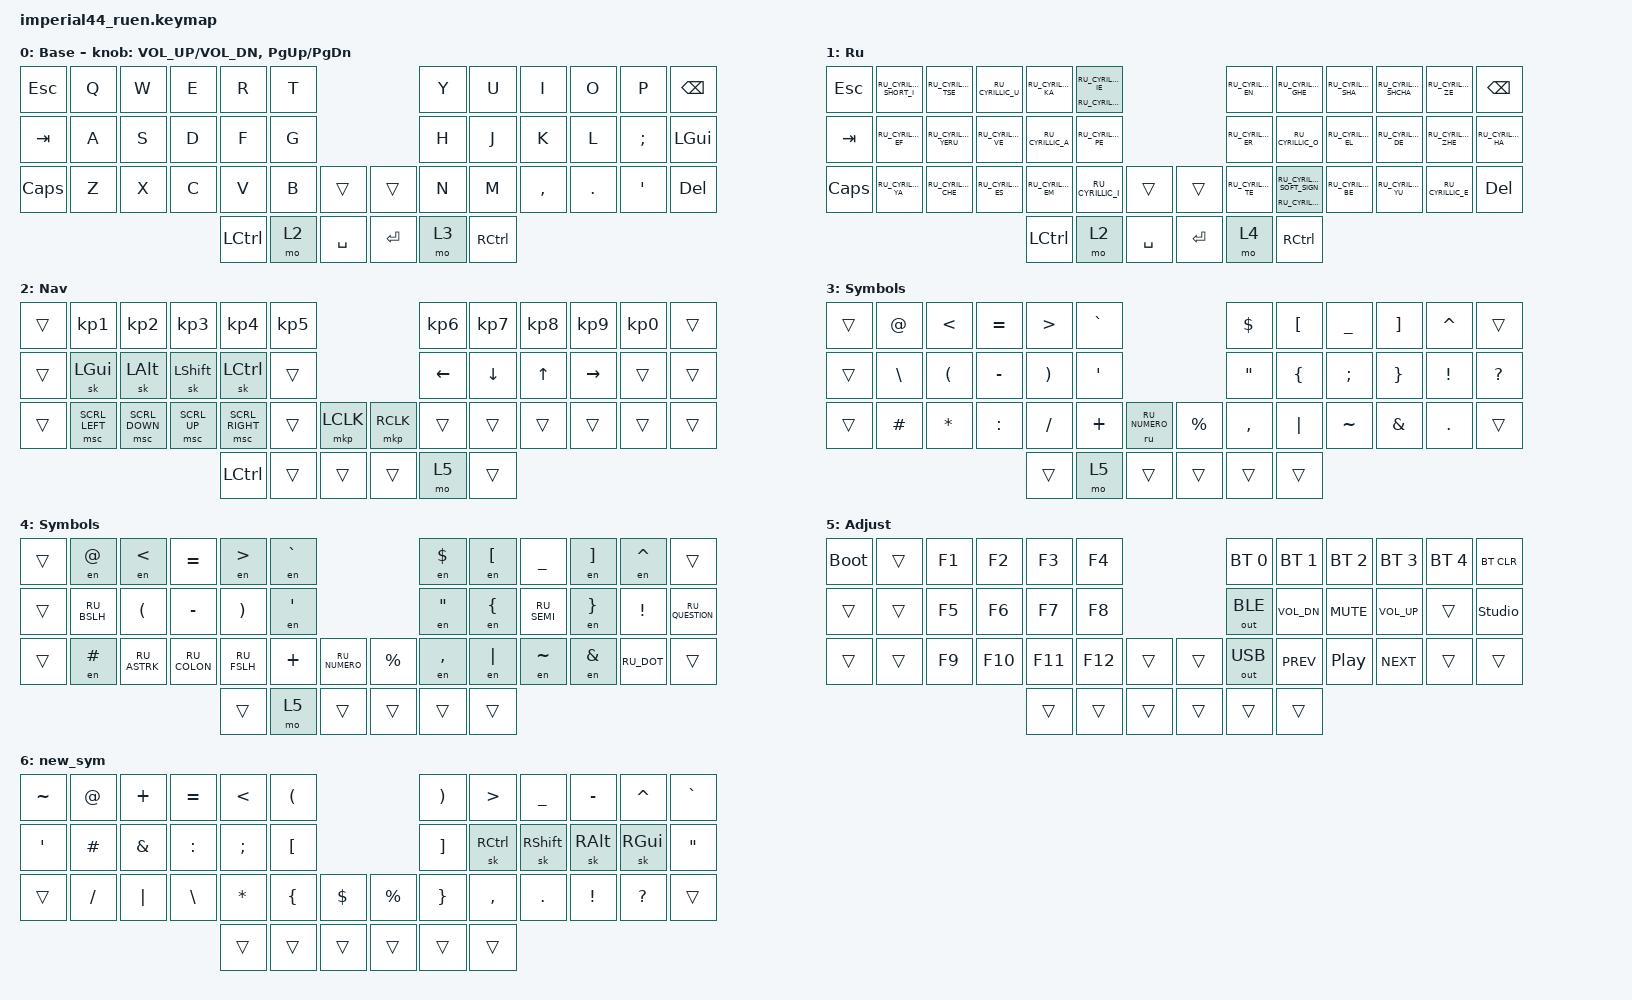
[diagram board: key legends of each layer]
#include "keys_ru.h"
#include <behaviors.dtsi>
#include <dt-bindings/zmk/bt.h>
#include <dt-bindings/zmk/keys.h>
#include <dt-bindings/zmk/outputs.h>
#include <dt-bindings/zmk/pointing.h>

/ {
    combos {
        compatible = "zmk,combos";

        cmben {
            bindings = <&layer_en>;
            key-positions = <3 4>;
            layers = <1>;
        };

        cmbru {
            bindings = <&layer_ru>;
            key-positions = <3 4>;
            layers = <0>;
        };
    };

    macros {
        to_ru: to_ru {
            compatible = "zmk,behavior-macro";
            #binding-cells = <0>;
            bindings = <&kp LC(LS(N2))>;
            label = "TO_RU";
            wait-ms = <0>;
            tap-ms = <30>;
        };

        to_en: to_en {
            compatible = "zmk,behavior-macro";
            #binding-cells = <0>;
            bindings = <&kp LC(LS(N1))>;
            label = "TO_EN";
            wait-ms = <0>;
            tap-ms = <30>;
        };

        layer_en: layer_en {
            compatible = "zmk,behavior-macro";
            #binding-cells = <0>;
            bindings = <&to 0 &to_en>;
            label = "LAYER_EN";
            wait-ms = <0>;
            tap-ms = <30>;
        };

        layer_ru: layer_ru {
            compatible = "zmk,behavior-macro";
            #binding-cells = <0>;
            bindings = <&to 1 &to_ru>;
            label = "LAYER_RU";
            tap-ms = <30>;
            wait-ms = <0>;
        };

        en: en {
            compatible = "zmk,behavior-macro-one-param";
            #binding-cells = <1>;
            bindings =
                <&to_en>,
                <&macro_press>,
                <&macro_param_1to1 &kp MACRO_PLACEHOLDER>,
                <&macro_pause_for_release>,
                <&macro_release>,
                <&macro_param_1to1 &kp MACRO_PLACEHOLDER>,
                <&macro_tap>,
                <&to_ru>;

            label = "EN";
            wait-ms = <0>;
            tap-ms = <30>;
        };

        ru: ru {
            compatible = "zmk,behavior-macro-one-param";
            #binding-cells = <1>;
            bindings =
                <&to_ru>,
                <&macro_press>,
                <&macro_param_1to1 &kp MACRO_PLACEHOLDER>,
                <&macro_pause_for_release>,
                <&macro_release>,
                <&macro_param_1to1 &kp MACRO_PLACEHOLDER>,
                <&macro_tap>,
                <&to_en>;

            label = "RU";
        };
    };

    behaviors {
        custom_mt: custom_mt {
            compatible = "zmk,behavior-hold-tap";
            label = "CUSTOM_MT";
            bindings = <&kp>, <&kp>;

            #binding-cells = <2>;
            tapping-term-ms = <250>;
            flavor = "balanced";
        };

        hrm: hrm {
            compatible = "zmk,behavior-hold-tap";
            label = "HRM";
            bindings = <&kp>, <&kp>;

            #binding-cells = <2>;
            tapping-term-ms = <200>;
            flavor = "balanced";
        };
    };

    keymap {
        compatible = "zmk,keymap";

        en {
            bindings = <
&kp ESC   &kp Q  &kp W  &kp E  &kp R      &kp T                          &kp Y  &kp U      &kp I      &kp O    &kp P     &kp BACKSPACE
&kp TAB   &kp A  &kp S  &kp D  &kp F      &kp G                          &kp H  &kp J      &kp K      &kp L    &kp SEMI  &kp LGUI
&kp CAPS  &kp Z  &kp X  &kp C  &kp V      &kp B  &trans       &trans     &kp N  &kp M      &kp COMMA  &kp DOT  &kp SQT   &kp DELETE
                               &kp LCTRL  &mo 2  &kp SPACE    &kp ENTER  &mo 3  &kp RCTRL
            >;

            display-name = "Base";
            sensor-bindings =
                <&inc_dec_kp C_VOL_UP C_VOL_DN>,
                <&inc_dec_kp PG_UP PG_DN>;
        };

        ru {
            display-name = "Ru";
            bindings = <
&kp ESC   &kp RU_CYRILLIC_SHORT_I  &kp RU_CYRILLIC_TSE   &kp RU_CYRILLIC_U   &kp RU_CYRILLIC_KA  &custom_mt RU_CYRILLIC_IO RU_CYRILLIC_IE                          &kp RU_CYRILLIC_EN  &kp RU_CYRILLIC_GHE                                     &kp RU_CYRILLIC_SHA  &kp RU_CYRILLIC_SHCHA  &kp RU_CYRILLIC_ZE   &kp BACKSPACE
&kp TAB   &kp RU_CYRILLIC_EF       &kp RU_CYRILLIC_YERU  &kp RU_CYRILLIC_VE  &kp RU_CYRILLIC_A   &kp RU_CYRILLIC_PE                                                &kp RU_CYRILLIC_ER  &kp RU_CYRILLIC_O                                       &kp RU_CYRILLIC_EL   &kp RU_CYRILLIC_DE     &kp RU_CYRILLIC_ZHE  &kp RU_CYRILLIC_HA
&kp CAPS  &kp RU_CYRILLIC_YA       &kp RU_CYRILLIC_CHE   &kp RU_CYRILLIC_ES  &kp RU_CYRILLIC_EM  &kp RU_CYRILLIC_I                         &trans       &trans     &kp RU_CYRILLIC_TE  &custom_mt RU_CYRILLIC_HARD_SIGN RU_CYRILLIC_SOFT_SIGN  &kp RU_CYRILLIC_BE   &kp RU_CYRILLIC_YU     &kp RU_CYRILLIC_E    &kp DELETE
                                                                             &kp LCTRL           &mo 2                                     &kp SPACE    &kp ENTER  &mo 4               &kp RCTRL
            >;
        };

        nav {
            bindings = <
&trans  &kp KP_NUMBER_1  &kp KP_NUMBER_2  &kp KP_NUMBER_3  &kp KP_NUMBER_4   &kp KP_NUMBER_5                          &kp KP_NUMBER_6  &kp KP_NUMBER_7  &kp KP_NUMBER_8  &kp KP_NUMBER_9  &kp KP_NUMBER_0  &trans
&trans  &sk LEFT_GUI     &sk LEFT_ALT     &sk LEFT_SHIFT   &sk LEFT_CONTROL  &trans                                   &kp LEFT         &kp DOWN         &kp UP           &kp RIGHT        &trans           &trans
&trans  &msc SCRL_LEFT   &msc SCRL_DOWN   &msc SCRL_UP     &msc SCRL_RIGHT   &trans           &mkp LCLK    &mkp RCLK  &trans           &trans           &trans           &trans           &trans           &trans
                                                           &kp LEFT_CONTROL  &trans           &trans       &trans     &mo 5            &trans
            >;

            display-name = "Nav";
        };

        sym_en {
            bindings = <
&trans  &kp AT    &kp LT    &kp EQUAL  &kp GT    &kp GRAVE                              &kp DOLLAR  &kp LBKT  &kp UNDER  &kp RBKT  &kp CARET  &trans
&trans  &kp BSLH  &kp LPAR  &kp MINUS  &kp RPAR  &kp SQT                                &kp DQT     &kp LBRC  &kp SEMI   &kp RBRC  &kp EXCL   &kp QUESTION
&trans  &kp HASH  &kp STAR  &kp COLON  &kp FSLH  &kp PLUS   &ru RU_NUMERO    &kp PRCNT  &kp COMMA   &kp PIPE  &kp TILDE  &kp AMPS  &kp DOT    &trans
                                       &trans    &mo 5      &trans           &trans     &trans      &trans
            >;

            display-name = "Symbols";
        };

        sym_ru {
            display-name = "Symbols";
            bindings = <
&trans  &en AT_SIGN  &en LT        &kp EQUAL     &en GT       &en GRAVE                                &en DOLLAR         &en LBKT  &kp UNDER    &en RBKT  &en CARET   &trans
&trans  &kp RU_BSLH  &kp LPAR      &kp MINUS     &kp RPAR     &en APOS                                 &en DOUBLE_QUOTES  &en LBRC  &kp RU_SEMI  &en RBRC  &kp EXCL    &kp RU_QUESTION
&trans  &en HASH     &kp RU_ASTRK  &kp RU_COLON  &kp RU_FSLH  &kp PLUS   &kp RU_NUMERO    &kp PERCENT  &en COMMA          &en PIPE  &en TILDE    &en AMPS  &kp RU_DOT  &trans
                                                 &trans       &mo 5      &trans           &trans       &trans             &trans
            >;
        };

        adj {
            bindings = <
&bootloader  &trans  &kp F1  &kp F2   &kp F3   &kp F4                     &bt BT_SEL 0  &bt BT_SEL 1  &bt BT_SEL 2      &bt BT_SEL 3  &bt BT_SEL 4  &bt BT_CLR
&trans       &trans  &kp F5  &kp F6   &kp F7   &kp F8                     &out OUT_BLE  &kp C_VOL_DN  &kp C_MUTE        &kp C_VOL_UP  &trans        &studio_unlock
&trans       &trans  &kp F9  &kp F10  &kp F11  &kp F12  &trans    &trans  &out OUT_USB  &kp C_PREV    &kp C_PLAY_PAUSE  &kp C_NEXT    &trans        &trans
                                      &trans   &trans   &trans    &trans  &trans        &trans
            >;

            display-name = "Adjust";
        };

        new_sym {
            bindings = <
&kp TILDE  &kp AT_SIGN  &kp PLUS  &kp EQUAL  &kp LESS_THAN  &kp LPAR                                   &kp RPAR         &kp GREATER_THAN   &kp UNDERSCORE   &kp MINUS      &kp CARET      &kp GRAVE
&kp SQT    &kp POUND    &kp AMPS  &kp COLON  &kp SEMI       &kp LBKT                                   &kp RBKT         &sk RIGHT_CONTROL  &sk RIGHT_SHIFT  &sk RIGHT_ALT  &sk RIGHT_GUI  &kp DOUBLE_QUOTES
&trans     &kp FSLH     &kp PIPE  &kp BSLH   &kp ASTRK      &kp LEFT_BRACE  &kp DOLLAR    &kp PERCENT  &kp RIGHT_BRACE  &kp COMMA          &kp DOT          &kp EXCL       &kp QMARK      &trans
                                             &trans         &trans          &trans        &trans       &trans           &trans
            >;
        };
    };
};
